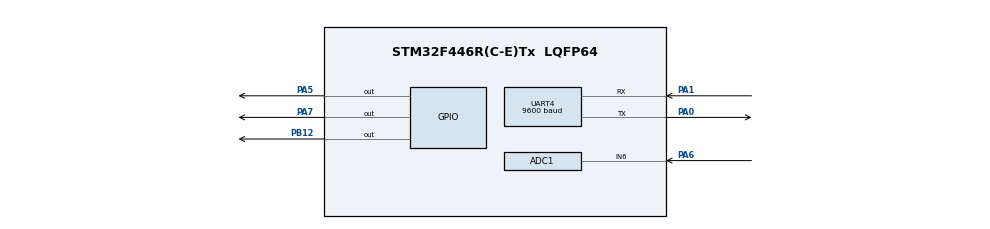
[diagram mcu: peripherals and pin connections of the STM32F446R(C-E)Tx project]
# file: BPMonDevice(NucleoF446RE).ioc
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ADC1.Channel-0\#ChannelRegularConversion=ADC_CHANNEL_6
ADC1.NbrOfConversionFlag=1
ADC1.Rank-0\#ChannelRegularConversion=1
ADC1.SamplingTime-0\#ChannelRegularConversion=ADC_SAMPLETIME_3CYCLES
ADC1.master=1
Mcu.Family=STM32F4
Mcu.Name=STM32F446R(C-E)Tx
Mcu.Package=LQFP64
NVIC.PriorityGroup=NVIC_PRIORITYGROUP_4
NVIC.UART4_IRQn=true\:0\:0\:false\:false\:true\:true\:true
PA0-WKUP.Mode=Asynchronous
PA0-WKUP.Signal=UART4_TX
PA1.Mode=Asynchronous
PA1.Signal=UART4_RX
PA5.Signal=GPIO_Output
PA6.Signal=ADCx_IN6
PA7.Signal=GPIO_Output
PB12.Signal=GPIO_Output
ProjectManager.HeapSize=0x200
ProjectManager.StackSize=0x400
ProjectManager.TargetToolchain=STM32CubeIDE
RCC.CortexFreq_Value=16000000
RCC.USBFreq_Value=96000000
RCC.VCOOutputFreq_Value=192000000
SH.ADCx_IN6.0=ADC1_IN6,IN6
UART4.BaudRate=9600
UART4.VirtualMode=Asynchronous
VP_RTC_VS_RTC_Activate.Mode=RTC_Enabled
VP_RTC_VS_RTC_Calendar.Mode=RTC_Calendar
board=custom

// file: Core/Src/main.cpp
/* USER CODE BEGIN Header */
/**
 ******************************************************************************
 * @file           : main.c
 * @brief          : Main program body
 ******************************************************************************
 * @attention
 *
 * <h2><center>&copy; Copyright (c) 2020 STMicroelectronics.
 * All rights reserved.</center></h2>
 *
 * This software component is licensed by ST under BSD 3-Clause license,
 * the "License"; You may not use this file except in compliance with the
 * License. You may obtain a copy of the License at:
 *                        opensource.org/licenses/BSD-3-Clause
 *
 ******************************************************************************
 */
/* USER CODE END Header */
#include "main.h"
// @suppress("Float formatting support")
/* USER CODE BEGIN Includes */
#include <stdio.h>
#include <string.h>
#include <stdlib.h>
#include "DspFilters/Butterworth.h"
#include <time.h>
#include "signalDetector.h"
/* USER CODE END Includes */

/* USER CODE BEGIN PTD */
using namespace std;
/* USER CODE END PTD */

/* USER CODE BEGIN PD */
#define Pump_Time              25 //How long to pump in seconds (TO DO redesign to work on pressure not pump time)
#define Read_Time              Pump_Time + 40 //How long to read signal including pump time (40 seconds at 50hz = 2000 samples)
#define Sample_Rate            50 //Sample rate in HZ (100hz = 100 samples per sec)
#define Max_Num_Readings       50 //Max Num Readings
/* USER CODE END PD */

ADC_HandleTypeDef hadc1;

RTC_HandleTypeDef hrtc;

UART_HandleTypeDef huart4;

/* USER CODE BEGIN PV */

int Timer_Num_Readings = 24; //Number of readings in timer mode
int Timer_Length = 3600; //timer length in seconds
float waitTime = 1.0 / Sample_Rate; //wait time to ensure correct amount of samples taken per second (TO DO - test actual processing time to confirm)

float systolicRatio = 0.85; //Ratios used in calculating sys/dia points (TO DO: Test more with different ratios)
float diastolicRatio = 1.35;

//Init timers
time_t readingStart = NULL;
time_t hourlyStart = NULL;

//Init data arrays/counters
float data[Sample_Rate * (Read_Time - Pump_Time)];
float filteredData[Sample_Rate * (Read_Time - Pump_Time)];
char graphData[7]; //Only used in graph mode
int dataCounter;
long dataCounter2;
int readingCounter = 0;

//Init flags
bool dateHasBeenSet = false;
bool recieveDateFlag = false;
bool graphFlag = false;
bool readFlag = false;

//Init UART buffers/lines
const int buffer_size = 128;
const int line_size = 32;

char rx_buffer[buffer_size + 1];
uint8_t rx_char;
char rx_line[line_size];

//Used for interrupt
volatile int rx_in=0;
volatile int rx_out=0;

//Init Status
enum Status {
	sleeping, idle, reading, calculating, hourly
};

Status status = idle;

struct Reading {
	time_t date;
	float MAP;
	float systolicPressure;
	float diastolicPressure;

};

struct Reading storedReadings[Max_Num_Readings];
int numStoredReadings = 0;

/* USER CODE END PV */

void SystemClock_Config(void);
static void MX_GPIO_Init(void);
static void MX_ADC1_Init(void);
static void MX_UART4_Init(void);
static void MX_RTC_Init(void);
/* USER CODE BEGIN PFP */

void read_line();
void send_line();
void handleSerialMsg(char *msg);
void handleSendMsg(string msg);

void HAL_UART_RxCpltCallback(UART_HandleTypeDef *huart);
void clear_rx_line();
void handleSetDate();
void filterResults();
void displayLastReading();
string convertReadingToString();
void calculatePressures();
void filterResults();

void updateRTC(time_t now);
time_t getUnixTimeRTC();

/* USER CODE END PFP */

int main(void) {

	/* MCU Configuration--------------------------------------------------------*/

	/* Reset of all peripherals, Initializes the Flash interface and the Systick. */
	HAL_Init();

	/* Configure the system clock */
	SystemClock_Config();

	/* Initialize all configured peripherals */
	MX_GPIO_Init();
	MX_ADC1_Init();
	MX_UART4_Init();
	MX_RTC_Init();
	/* USER CODE BEGIN 2 */

    HAL_UART_Receive_IT (&huart4, &rx_char, 1);

	uint32_t adcResult = 0;
	float voltage;
	float pressure;
	/* USER CODE END 2 */

	/* Infinite loop */
	/* USER CODE BEGIN WHILE */
	while (1) {

		/***************************MAIN CODE LOOP SECTION**************************/
		if (status == hourly) { //TO DO - Set up sleep wait time for timer mode

			time_t seconds = getUnixTimeRTC(); //Get current system time

			if (hourlyStart != NULL && (seconds - hourlyStart) < Timer_Length
					&& readingCounter > 0) { //Check current time to timer length

				//Change state to read
				status = reading;
				readingCounter--;
				readingStart = getUnixTimeRTC();

				//Handling sending reading time info to application
				string str1 = "Reading started at\n ";
				string str2 = ctime(&readingStart);
				string str3 = "~";

				string sendMsg = str1 + str2 + str3;

				handleSendMsg(sendMsg);

				//Reset data counters
				dataCounter = 0;
				dataCounter2 = 0;
			}
		} else if (status == idle) {

			HAL_GPIO_WritePin(GPIOA, GPIO_PIN_7, GPIO_PIN_RESET); //Motor pin OFF
			HAL_GPIO_WritePin(GPIOB, GPIO_PIN_12, GPIO_PIN_RESET); //Solenoid pin OFF

		} else if (status == reading) {

			time_t seconds = getUnixTimeRTC();//Get current system time

			//Get ADC result
			HAL_ADC_Start(&hadc1);
			HAL_ADC_PollForConversion(&hadc1, 100);
			adcResult = HAL_ADC_GetValue(&hadc1);
			HAL_ADC_Stop(&hadc1);

			//Calculate pressure from adc result
			voltage = adcResult * 0.000244140625;
			pressure = voltage * 3;
			pressure = pressure * 16.66666;
			pressure = pressure * 7.500638;

			if (readingStart == NULL) {
				handleSendMsg("Error, reading start time not recorded~");
				status = idle;
			}

			//Check if we still need to be pumping
			if (readingStart != NULL && (seconds - readingStart) < Pump_Time) {

				HAL_GPIO_WritePin(GPIOA, GPIO_PIN_7, GPIO_PIN_SET); //Motor pin ON
				HAL_GPIO_WritePin(GPIOB, GPIO_PIN_12, GPIO_PIN_SET); //Solenoid pin ON

				//If graph mode on (TO DO: redo this completely without datacounter2)
				if ((graphFlag == true) && (dataCounter2 % 30000 == 0)) {

					//Handle send pressure data to application for graphing
					snprintf(graphData, 6, "%.2f", pressure);
					string graphStr = "";
					graphStr += graphData;
					graphStr += "~";
					handleSendMsg(graphStr);
					snprintf(graphData, 6, "");

				}

				dataCounter2++;

			//Check if we need to be reading data
			} else if (readingStart != NULL
					&& (seconds - readingStart < Read_Time)) {

				HAL_GPIO_WritePin(GPIOA, GPIO_PIN_7, GPIO_PIN_RESET); //Motor pin OFF
				HAL_GPIO_WritePin(GPIOB, GPIO_PIN_12, GPIO_PIN_SET); //Solenoid pin ON

				if (dataCounter < (Sample_Rate * (Read_Time - Pump_Time))) { //Check if counter is less that total amount of samples to be read

					data[dataCounter] = pressure;
					filteredData[dataCounter] = pressure; //Assigning data to be filtered later (TO DO - clean this up)

					if (graphFlag == true) {
						snprintf(graphData, 6, "%.2f", pressure);
						string graphStr = "";
						graphStr += graphData;
						graphStr += "~";
						handleSendMsg(graphStr);
						snprintf(graphData, 6, "");
					}

					dataCounter++;
				} else { //Debugging
					__NOP();
				}

				//Wait for necessary amount of time to record sample rate - (TO DO - check timings)
				HAL_Delay(waitTime);

			//If not pumping or reading then reading should be finished here
			} else {

 				handleSendMsg("Reading finished, calculating results~");
				HAL_GPIO_WritePin(GPIOA, GPIO_PIN_7, GPIO_PIN_RESET); //Motor pin OFF
				HAL_GPIO_WritePin(GPIOB, GPIO_PIN_12, GPIO_PIN_RESET); //Solenoid pin OFF

				calculatePressures();
				displayLastReading();

				//Check if we have reached the total amount of readings for timer mode
				if (readingCounter > 0) {
					status = hourly;
					hourlyStart = getUnixTimeRTC(); //Set hourly start to current time
				} else {
					status = idle;
					hourlyStart = NULL;
				}
			}
		}

		//Check if message waiting from interrupt
		if (readFlag == true) {
			read_line();
			handleSerialMsg((char*)rx_line);
			readFlag = false;
		}

		/* USER CODE END WHILE */

	}
}

void SystemClock_Config(void)
{
  RCC_OscInitTypeDef RCC_OscInitStruct = {0};
  RCC_ClkInitTypeDef RCC_ClkInitStruct = {0};
  RCC_PeriphCLKInitTypeDef PeriphClkInitStruct = {0};

  /** Configure the main internal regulator output voltage
  */
  __HAL_RCC_PWR_CLK_ENABLE();
  __HAL_PWR_VOLTAGESCALING_CONFIG(PWR_REGULATOR_VOLTAGE_SCALE3);
  /** Initializes the RCC Oscillators according to the specified parameters
  * in the RCC_OscInitTypeDef structure.
  */
  RCC_OscInitStruct.OscillatorType = RCC_OSCILLATORTYPE_HSI|RCC_OSCILLATORTYPE_LSI;
  RCC_OscInitStruct.LSEState = RCC_LSE_OFF;
  RCC_OscInitStruct.HSIState = RCC_HSI_ON;
  RCC_OscInitStruct.HSICalibrationValue = RCC_HSICALIBRATION_DEFAULT;
  RCC_OscInitStruct.LSIState = RCC_LSI_ON;
  RCC_OscInitStruct.PLL.PLLState = RCC_PLL_NONE;
  if (HAL_RCC_OscConfig(&RCC_OscInitStruct) != HAL_OK)
  {
    Error_Handler();
  }
  /** Initializes the CPU, AHB and APB buses clocks
  */
  RCC_ClkInitStruct.ClockType = RCC_CLOCKTYPE_HCLK|RCC_CLOCKTYPE_SYSCLK
                              |RCC_CLOCKTYPE_PCLK1|RCC_CLOCKTYPE_PCLK2;
  RCC_ClkInitStruct.SYSCLKSource = RCC_SYSCLKSOURCE_HSI;
  RCC_ClkInitStruct.AHBCLKDivider = RCC_SYSCLK_DIV1;
  RCC_ClkInitStruct.APB1CLKDivider = RCC_HCLK_DIV1;
  RCC_ClkInitStruct.APB2CLKDivider = RCC_HCLK_DIV1;

  if (HAL_RCC_ClockConfig(&RCC_ClkInitStruct, FLASH_LATENCY_0) != HAL_OK)
  {
    Error_Handler();
  }
  PeriphClkInitStruct.PeriphClockSelection = RCC_PERIPHCLK_RTC;
  PeriphClkInitStruct.RTCClockSelection = RCC_RTCCLKSOURCE_LSI;
  if (HAL_RCCEx_PeriphCLKConfig(&PeriphClkInitStruct) != HAL_OK)
  {
    Error_Handler();
  }
}

static void MX_RTC_Init(void)
{

  RTC_TimeTypeDef sTime = {0};
  RTC_DateTypeDef sDate = {0};

  /** Initialize RTC Only
  */
  hrtc.Instance = RTC;
  hrtc.Init.HourFormat = RTC_HOURFORMAT_24;
  hrtc.Init.AsynchPrediv = 127;
  hrtc.Init.SynchPrediv = 255;
  hrtc.Init.OutPut = RTC_OUTPUT_DISABLE;
  hrtc.Init.OutPutPolarity = RTC_OUTPUT_POLARITY_HIGH;
  hrtc.Init.OutPutType = RTC_OUTPUT_TYPE_OPENDRAIN;
  if (HAL_RTC_Init(&hrtc) != HAL_OK)
  {
    Error_Handler();
  }

  /** Initialize RTC and set the Time and Date
  */
  sTime.Hours = 0x0;
  sTime.Minutes = 0x0;
  sTime.Seconds = 0x0;
  sTime.DayLightSaving = RTC_DAYLIGHTSAVING_NONE;
  sTime.StoreOperation = RTC_STOREOPERATION_RESET;
  if (HAL_RTC_SetTime(&hrtc, &sTime, RTC_FORMAT_BCD) != HAL_OK)
  {
    Error_Handler();
  }
  sDate.WeekDay = RTC_WEEKDAY_MONDAY;
  sDate.Month = RTC_MONTH_JANUARY;
  sDate.Date = 0x1;
  sDate.Year = 0x0;

  if (HAL_RTC_SetDate(&hrtc, &sDate, RTC_FORMAT_BCD) != HAL_OK)
  {
    Error_Handler();
  }

}

static void MX_ADC1_Init(void) {

	ADC_ChannelConfTypeDef sConfig = { 0 };

	/** Configure the global features of the ADC (Clock, Resolution, Data Alignment and number of conversion)
	 */
	hadc1.Instance = ADC1;
	hadc1.Init.ClockPrescaler = ADC_CLOCK_SYNC_PCLK_DIV2;
	hadc1.Init.Resolution = ADC_RESOLUTION_12B;
	hadc1.Init.ScanConvMode = DISABLE;
	hadc1.Init.ContinuousConvMode = DISABLE;
	hadc1.Init.DiscontinuousConvMode = DISABLE;
	hadc1.Init.ExternalTrigConvEdge = ADC_EXTERNALTRIGCONVEDGE_NONE;
	hadc1.Init.ExternalTrigConv = ADC_SOFTWARE_START;
	hadc1.Init.DataAlign = ADC_DATAALIGN_RIGHT;
	hadc1.Init.NbrOfConversion = 1;
	hadc1.Init.DMAContinuousRequests = DISABLE;
	hadc1.Init.EOCSelection = ADC_EOC_SINGLE_CONV;
	if (HAL_ADC_Init(&hadc1) != HAL_OK) {
		Error_Handler();
	}
	/** Configure for the selected ADC regular channel its corresponding rank in the sequencer and its sample time.
	 */
	sConfig.Channel = ADC_CHANNEL_6;
	sConfig.Rank = 1;
	sConfig.SamplingTime = ADC_SAMPLETIME_3CYCLES;
	if (HAL_ADC_ConfigChannel(&hadc1, &sConfig) != HAL_OK) {
		Error_Handler();
	}

}

static void MX_UART4_Init(void) {

	huart4.Instance = UART4;
	huart4.Init.BaudRate = 9600;
	huart4.Init.WordLength = UART_WORDLENGTH_8B;
	huart4.Init.StopBits = UART_STOPBITS_1;
	huart4.Init.Parity = UART_PARITY_NONE;
	huart4.Init.Mode = UART_MODE_TX_RX;
	huart4.Init.HwFlowCtl = UART_HWCONTROL_NONE;
	huart4.Init.OverSampling = UART_OVERSAMPLING_16;
	if (HAL_UART_Init(&huart4) != HAL_OK) {
		Error_Handler();
	}

}

static void MX_GPIO_Init(void) {
	GPIO_InitTypeDef GPIO_InitStruct = { 0 };

	/* GPIO Ports Clock Enable */
	__HAL_RCC_GPIOA_CLK_ENABLE();
	__HAL_RCC_GPIOB_CLK_ENABLE();

	/*Configure GPIO pin Output Level */
	HAL_GPIO_WritePin(GPIOA, GPIO_PIN_5 | GPIO_PIN_7, GPIO_PIN_RESET);

	/*Configure GPIO pin Output Level */
	HAL_GPIO_WritePin(GPIOB, GPIO_PIN_12, GPIO_PIN_RESET);

	/*Configure GPIO pins : PA5 PA7 */
	GPIO_InitStruct.Pin = GPIO_PIN_5 | GPIO_PIN_7;
	GPIO_InitStruct.Mode = GPIO_MODE_OUTPUT_PP;
	GPIO_InitStruct.Pull = GPIO_NOPULL;
	GPIO_InitStruct.Speed = GPIO_SPEED_FREQ_LOW;
	HAL_GPIO_Init(GPIOA, &GPIO_InitStruct);

	/*Configure GPIO pin : PB12 */
	GPIO_InitStruct.Pin = GPIO_PIN_12;
	GPIO_InitStruct.Mode = GPIO_MODE_OUTPUT_PP;
	GPIO_InitStruct.Pull = GPIO_NOPULL;
	GPIO_InitStruct.Speed = GPIO_SPEED_FREQ_LOW;
	HAL_GPIO_Init(GPIOB, &GPIO_InitStruct);

}

/* USER CODE BEGIN 4 */

/**
 * @brief Handles sending last reading made over UART serial connection
 * @param None
 * @retval None
 */
void displayLastReading() {

	char MAPC[8];
	char systolicC[8];
	char diastolicC[8];

	snprintf(MAPC, 7, "%.2f", storedReadings[numStoredReadings - 1].MAP);
	snprintf(systolicC, 7, "%.2f",
			storedReadings[numStoredReadings - 1].systolicPressure);
	snprintf(diastolicC, 7, "%.2f",
			storedReadings[numStoredReadings - 1].diastolicPressure);

	string MAPstr = "MAP: ";
	MAPstr += MAPC;
	MAPstr += "~";
	string sysStr = "Systolic: ";
	sysStr += systolicC;
	sysStr += "~";
	string diaStr = "Diastolic: ";
	diaStr += diastolicC;
	diaStr += "~";

	handleSendMsg(MAPstr);
	handleSendMsg(sysStr);
	handleSendMsg(diaStr);

}

/**
 * @brief Converts a reading to string (Used in sending all stored readings from device to application)
 * @param struct Reading reading
 * @retval readingString - input reading as a string
 */
string convertReadingToString(struct Reading reading) {
	string readingString = "/";

	char MAPC[8];
	char systolicC[8];
	char diastolicC[8];
	char dateC[13];

	snprintf(MAPC, 7, "%.2f", reading.MAP);
	snprintf(systolicC, 7, "%.2f", reading.systolicPressure);
	snprintf(diastolicC, 7, "%.2f", reading.diastolicPressure);
	snprintf(dateC, 12, "%d", reading.date);

	readingString += dateC;
	readingString += "/";
	readingString += MAPC;
	readingString += "/";
	readingString += systolicC;
	readingString += "/";
	readingString += diastolicC;
	readingString += "/";

	return (readingString);
}

/**
 * @brief Calculates current stored reading by specifier numStoredReadings into MAP/sys/dia pressure values
 * @param None
 * @retval None
 */
void calculatePressures() {

	//Disable interrupts here as we don't want to be reset if reading has been completed
	HAL_NVIC_DisableIRQ(UART4_IRQn);

	//Peak detection needs data to be filtered first
	filterResults();

	//Init variables
	int mapIndex = 0;
	int systolicIndex = 0;
	int diastolicIndex = 0;
	vector<ld> input;
	vector <int> peakIndexes;

	//Variables used for peak detection
	int lag = 25;
	ld threshold = 2.61;
	ld influence = 0.8;

	//Throw away/reset first 300 samples as butterworth filter usually has junk values due to cuff pressure decaying (TO DO: find cleaner way to do this)
	for (int i = 0; i < 300; i++){
		filteredData[i] = 0;
	}

	//Casting floats to LD (TO DO: redo this as LD unnecessary - redo peak detection to floats) SAVE MEMORY HERE!!!
	for (int i = 0; i <Sample_Rate * (Read_Time - Pump_Time); i++ ){
		input.push_back((ld)filteredData[i]);
	}

	//Analyse input for peaks using z-score and assign to output
	vector<int> output = z_score_thresholding(input, lag, threshold, influence);

	//Saving peaks to separate indexes
	int j = 0;
	for (auto it = output.begin(); it != output.end(); it++) {
	            if (*it == 1){
	            	peakIndexes.push_back(j);
	            	}

	            j++;
			}

	//Loop through all peak indexes to find highest/MAP
	for (auto it = peakIndexes.begin(); it != peakIndexes.end(); it++){
		if(filteredData[*it] > filteredData[mapIndex]){
			mapIndex = *it;
		}
	}

	//Assigning sys/dia peak indexes (rough)
	systolicIndex = (int)(mapIndex * systolicRatio);
	diastolicIndex = (int)(mapIndex * diastolicRatio);

	//Basic way of finding nearest true peak to assigned systolic/diastolic peak index (TO DO: redo this to be much cleaner)
	if(output[systolicIndex] != 1 ){
	            for (int i = 1; i < systolicIndex; i++){

	                if (output[systolicIndex + i] == 1){
	                	systolicIndex = systolicIndex + i;
	                    break;
	                }
	                else if (output[systolicIndex - i] == 1){
	                	systolicIndex = systolicIndex - i;
	                    break;
	                }

	            }
	        }

	if(output[diastolicIndex] != 1 ){
		for (int i = 1; i < diastolicIndex; i++){

			if (output[diastolicIndex + i] == 1){
				diastolicIndex = diastolicIndex + i;
				break;
			}
			else if (output[diastolicIndex - i] == 1){
				diastolicIndex = diastolicIndex - i;
				break;
			}

		}
	}

	//Store readings with assigned MAP/sys/dia indexes
	storedReadings[numStoredReadings].date = readingStart;
	storedReadings[numStoredReadings].MAP = data[mapIndex];
	storedReadings[numStoredReadings].systolicPressure = data[systolicIndex];
	storedReadings[numStoredReadings].diastolicPressure = data[diastolicIndex];

	//Increment counter
	numStoredReadings++;

	//Reenable interrupt
	HAL_NVIC_EnableIRQ(UART4_IRQn);

}

/**
 * @brief Filters the results held in filteredData[] - currently using Butterworth filter
 * @param None
 * @retval None
 */
void filterResults() {

	Dsp::SimpleFilter<Dsp::Butterworth::BandPass<2>, 1> f;

	f.setup(2,    // order
			50,   // sample rate
			9.75, // center frequency
			19	  // band width
			);

	float *const*filteredData2;

	float *item = &filteredData[0];

	filteredData2 = &item;

	f.process(Sample_Rate * (Read_Time - Pump_Time), filteredData2);

}

/**
 * @brief Handles setting the current data/time when sent through UART rx_line
 * @param None
 * @retval None
 */
void handleSetDate() {
	//Wait to make sure everything has been sent across
	HAL_Delay(500);
	clear_rx_line();
	read_line();
	time_t now = atoi(rx_line); //Get date from rx_line
	updateRTC(now); //Update device clock
	dateHasBeenSet = true; //Update flag
	clear_rx_line(); //Clear rx_line as date now set
}

/**
 * @brief Handles updating the current data/time from a UNIX time value
 * @param time_t now (Date/time to be set)
 * @retval None
 */
void updateRTC(time_t now)
{

 RTC_TimeTypeDef sTime;
 RTC_DateTypeDef sDate;

 //Convert input to struct tm
 struct tm time_tm;
 time_tm = *(localtime(&now));

 //Set device time
 sTime.Hours = (uint8_t)time_tm.tm_hour;
 sTime.Minutes = (uint8_t)time_tm.tm_min;
 sTime.Seconds = (uint8_t)time_tm.tm_sec;
 if (HAL_RTC_SetTime(&hrtc, &sTime, RTC_FORMAT_BIN) != HAL_OK)
 {
	 //Error_Handler(__FILE__, __LINE__);
 }

 //Set device date
 if (time_tm.tm_wday == 0) { time_tm.tm_wday = 7; } // the chip goes mon tue wed thu fri sat sun
 sDate.WeekDay = (uint8_t)time_tm.tm_wday;
 sDate.Month = (uint8_t)time_tm.tm_mon+1;
 sDate.Date = (uint8_t)time_tm.tm_mday;
 sDate.Year = (uint16_t)(time_tm.tm_year+1900-2000); // time.h is years since 1900, chip is years since 2000

 /*
 * update the RTC
 */
 if (HAL_RTC_SetDate(&hrtc, &sDate, RTC_FORMAT_BIN) != HAL_OK)
 {
	 //Error_Handler(__FILE__, __LINE__);
 }

 HAL_RTCEx_BKUPWrite(&hrtc,RTC_BKP_DR0,0x32F2); // lock it in with the backup registers

}

/**
 * @brief Gets a UNIX time value from the RTC
 * @param None
 * @retval time_t currentTime
 */
time_t getUnixTimeRTC(){

	 RTC_DateTypeDef rtcDate;
	 RTC_TimeTypeDef rtcTime;
	 //Get time/date from RTC
	 HAL_RTC_GetTime(&hrtc, &rtcTime, RTC_FORMAT_BIN);
	 HAL_RTC_GetDate(&hrtc, &rtcDate, RTC_FORMAT_BIN);
	 uint8_t hh = rtcTime.Hours;
	 uint8_t mm = rtcTime.Minutes;
	 uint8_t ss = rtcTime.Seconds;
	 uint8_t d = rtcDate.Date;
	 uint8_t m = rtcDate.Month;
	 uint16_t y = rtcDate.Year;
	 uint16_t yr = (uint16_t)(y+2000-1900);
	 //Init current time + assign RTC values
	 time_t currentTime = {0};
	 struct tm tim = {0};
	 tim.tm_year = yr;
	 tim.tm_mon = m - 1;
	 tim.tm_mday = d;
	 tim.tm_hour = hh;
	 tim.tm_min = mm;
	 tim.tm_sec = ss;
	 currentTime = mktime(&tim);

	 return (currentTime);‍‍‍‍‍‍‍‍‍‍‍‍‍‍‍‍‍‍‍‍‍‍‍‍‍‍‍‍‍‍‍‍‍‍‍‍‍‍‍‍‍‍‍‍‍‍‍‍‍‍‍‍‍‍‍‍‍‍‍‍‍‍‍‍‍‍‍‍‍‍‍‍‍‍‍‍‍‍‍‍‍‍‍‍‍‍‍‍‍‍‍‍‍‍‍‍‍‍‍‍‍‍‍‍‍‍‍‍‍‍‍‍‍‍‍‍‍‍‍‍‍‍‍‍‍‍‍‍‍‍‍‍‍‍‍‍‍‍‍‍‍‍‍‍‍‍‍‍‍‍‍‍‍‍‍‍‍‍‍‍‍‍‍‍‍‍‍‍‍‍‍‍‍‍‍‍‍‍‍‍‍‍‍‍‍‍‍‍‍‍‍‍
}

/**
 * @brief Handles setting the timer length and number of readings from UART data
 * @param None
 * @retval None
 */
void handleSetOptions() {
	//Wait to ensure everything has been sent across
	HAL_Delay(500);

	//Read and set the timer length
	clear_rx_line();
	read_line();
	Timer_Length = atoi((char*)rx_line);

	//Read and set the timer number of readings
	clear_rx_line();
	read_line();
	Timer_Num_Readings = atoi((char*)rx_line);
	clear_rx_line();

}

/**
 * @brief Handles sending the timer length and number of readings across UART serial connection
 * @param None
 * @retval None
 */
void handleSendOptions() {
	char optC[10];
	string optStr = "";
	snprintf(optC, 9, "%d/%d~", Timer_Length, Timer_Num_Readings);
	optStr += optC;

	handleSendMsg(optStr);
}

/**
 * @brief Handles action to be taken on receiving message across UART serial connection
 * @param char *msg - the current message to be actioned
 * @retval None
 */
void handleSerialMsg(char *msg) {

	//If date flag false then we need to set the RTC for any readings date/time to be recorded
	if (!dateHasBeenSet) {
		handleSendMsg("err1~");
		handleSetDate();
	}

	else {
		int msgAsInt = 0;

		//Basic way of converting message to int for use as switch (TO DO: redo this to be cleaner/or just use ints sent over UART)
		for (int i = 0; i <= strlen(msg); i++) {
			msgAsInt = msgAsInt + (int) (msg[i]);
		}

		//Clear rx_line as message should be read now
		clear_rx_line();

		//***********************MAIN MESSAGE RECIEVE SECTION***************/
		switch (msgAsInt) {

		case 538:        //read

			//Make sure we are currently idle
			if (status == idle) {

				//Check we haven't exceeded total amount of readings stored
				if (numStoredReadings + 1 >= Max_Num_Readings - 1) {
					handleSendMsg("err2~");
				} else {

					if (graphFlag == false) {
						handleSendMsg("Switching state to read~");
						HAL_Delay(500);//Delay for message send

						//Switch state to read
						status = reading;
						readingStart = getUnixTimeRTC();
						string str1 = "Reading started at\n ";
						string str2 = ctime(&readingStart);
						string str3 = "~";

						string sendMsg = str1 + str2 + str3;

						handleSendMsg(sendMsg);

						dataCounter = 0;
					} else {
						status = reading;
						readingStart = getUnixTimeRTC();
						dataCounter = 0;
						dataCounter2 = 0;
						HAL_Delay(500);
					}
				}
			} else {
				handleSendMsg("Cannot switch to read as not currently idle~");
			}

			break;

		case 531:        //cancel
			//Switch state to idle if state not currently idle
			if (status != idle) {
				handleSendMsg("Reset, switching state to idle~");
				status = idle;
				readingCounter = 0;
			} else {
				handleSendMsg("Error, system already idle~");
			}
			break;
		case 557:        //24 hour/timer mode
			if (status == idle) {
				//Check if timer amount of readings will exceed maximum
				if (numStoredReadings + Timer_Num_Readings
						>= Max_Num_Readings - 1) {
					handleSendMsg("err2~");
				} else {
					handleSendMsg("Switching state to timed~");
					readingCounter = Timer_Num_Readings;
					hourlyStart = getUnixTimeRTC();
					status = hourly;
				}

				//If already in timer mode send message with nextreading
			} else if (status == hourly) {

				time_t nextReading = hourlyStart + Timer_Length;

				string str1 = "Timer already started, next reading at ";
				string str2 = ctime(&nextReading);
				string str3 = "~";

				string sendMsg = str1 + str2 + str3;
				handleSendMsg(sendMsg);

			} else {
				handleSendMsg("Cannot switch to hourly as not currently idle~");
			}
			break;
		case 560:        //get data
			//Check if we have any readings saved
			if (numStoredReadings == 0) {
				handleSendMsg("err3~");

			} else {
				//Send all stored readings over UART
				for (int i = 0; i < numStoredReadings; i++) {
					handleSendMsg(convertReadingToString(storedReadings[i]));
					HAL_Delay(100);

				}
				//Send end reading message
				handleSendMsg("endr~");
				HAL_Delay(100);
				handleSendMsg("Readings downloaded and wiped from device~");
				//Reset number of stored readings (counter)
				numStoredReadings = 0;
			}

			break;
		case 552:                //graph mode
			graphFlag = !graphFlag;
			break;

		case 579:                //options request

			handleSendOptions();

			break;

		case 580:                //options set
			handleSetOptions();

			break;
		default:                //default msg not recognised
			handleSendMsg("Request not recognised~");
			break;

		}

		return;
	}
}

/**
 * @brief Handles sending message over UART serial connection
 * @param string msg
 * @retval None
 */
void handleSendMsg(string msg) {

	//Copy message to char array
	int n = msg.length();
	char msgUC[n + 1];
	strcpy(msgUC,msg.c_str());

	//Transmit message
	HAL_UART_Transmit(&huart4, (uint8_t*)msgUC, msg.length(), HAL_MAX_DELAY);

	return;

}
/**
 * @brief Clears rx_line of any stored data
 * @param None
 * @retval None
 */
void clear_rx_line(){

    for (int i = 0; i < line_size; i++){

        rx_line[i] = '\0';

        }

}

/**
 * @brief Reads from the rx buffer until end of message char '~'
 * @param None
 * @retval None
 */
void read_line() {

	int i;
	i = 0;

	//Critical Section
	HAL_NVIC_DisableIRQ(UART4_IRQn);
	while ((i==0) || (rx_line[i-1] != '~')) {

		if (rx_in == rx_out) {
			// End Critical Section - need to allow rx interrupt to get new characters for buffer
			        	HAL_NVIC_EnableIRQ(UART4_IRQn);

			            while (rx_in == rx_out) {

			            }
			// Start Critical Section - don't interrupt while changing global buffer variables
			            HAL_NVIC_DisableIRQ(UART4_IRQn);
			        }

		rx_line[i] = rx_buffer[rx_out];
		i++;
		rx_out = (rx_out + 1) % buffer_size;
	}

	//End Critical Section
	HAL_NVIC_EnableIRQ(UART4_IRQn);

}

/**
 * @brief Call when UART rx registers message recieved - reads UART char by char
 * @param None
 * @retval None
 */
void HAL_UART_RxCpltCallback(UART_HandleTypeDef *huart){

	rx_buffer[rx_in] = rx_char;
	rx_in = (rx_in + 1) % buffer_size;

	//If eom character set readflag to true to read line
	if (rx_char == '~'){
		readFlag = true;
	}

    HAL_UART_Receive_IT (&huart4, &rx_char, 1);
	return;
}

/* USER CODE END 4 */

void Error_Handler(void) {
}

/************************ (C) COPYRIGHT STMicroelectronics *****END OF FILE****/
